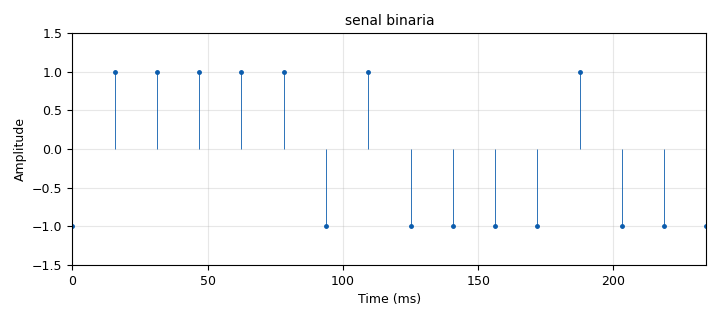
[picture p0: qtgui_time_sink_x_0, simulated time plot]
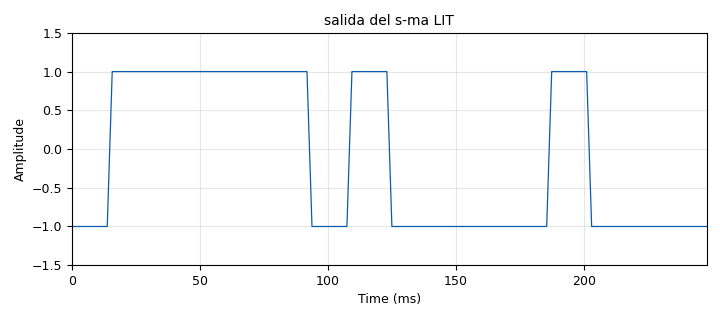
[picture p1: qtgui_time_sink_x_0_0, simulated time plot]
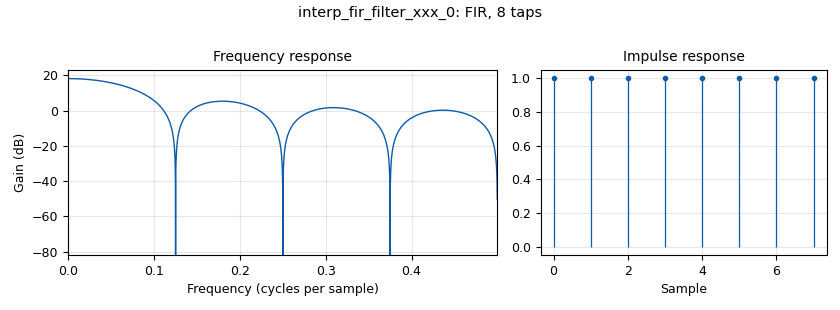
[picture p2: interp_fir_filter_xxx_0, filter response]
<?xml version='1.0' encoding='utf-8'?>
<?grc format='1' created='3.7.13'?>
<flow_graph>
<block>
<key>options</key>
<param><key>id</key><value>top_block</value></param>
<param><key>generate_options</key><value>qt_gui</value></param>
<param><key>run</key><value>run_stop</value></param>
</block>
<block>
<key>variable</key>
<param><key>id</key><value>Rb</value></param>
<param><key>value</key><value>64</value></param>
</block>
<block>
<key>variable</key>
<param><key>id</key><value>Sps</value></param>
<param><key>value</key><value>len(h)</value></param>
</block>
<block>
<key>variable</key>
<param><key>id</key><value>h</value></param>
<param><key>value</key><value>(1.,1.,1.,1.,1.,1.,1.,1.)</value></param>
</block>
<block>
<key>variable_qtgui_check_box</key>
<param><key>id</key><value>run_stop</value></param>
<param><key>value</key><value>True</value></param>
<param><key>false</key><value>False</value></param>
<param><key>gui_hint</key><value>0,0,1,1</value></param>
<param><key>label</key><value>Pause</value></param>
<param><key>true</key><value>True</value></param>
<param><key>type</key><value>int</value></param>
</block>
<block>
<key>variable</key>
<param><key>id</key><value>samp_rate</value></param>
<param><key>value</key><value>Rb*Sps</value></param>
</block>
<block>
<key>analog_const_source_x</key>
<param><key>id</key><value>analog_const_source_x_0</value></param>
<param><key>const</key><value>-1./2.</value></param>
<param><key>type</key><value>float</value></param>
</block>
<block>
<key>analog_random_source_x</key>
<param><key>id</key><value>analog_random_source_x_0</value></param>
<param><key>max</key><value>2</value></param>
<param><key>min</key><value>0</value></param>
<param><key>num_samps</key><value>1000</value></param>
<param><key>type</key><value>int</value></param>
<param><key>repeat</key><value>True</value></param>
</block>
<block>
<key>blocks_add_xx</key>
<param><key>id</key><value>blocks_add_xx_0</value></param>
<param><key>type</key><value>float</value></param>
</block>
<block>
<key>blocks_int_to_float</key>
<param><key>id</key><value>blocks_int_to_float_0</value></param>
<param><key>scale</key><value>1</value></param>
</block>
<block>
<key>blocks_multiply_const_vxx</key>
<param><key>id</key><value>blocks_multiply_const_vxx_0</value></param>
<param><key>const</key><value>2.</value></param>
<param><key>type</key><value>float</value></param>
</block>
<block>
<key>blocks_vector_source_x</key>
<param><key>id</key><value>blocks_vector_source_x_0</value></param>
<param><key>_enabled</key><value>0</value></param>
<param><key>type</key><value>float</value></param>
<param><key>repeat</key><value>True</value></param>
<param><key>vector</key><value>(1., -1., 1., -1.)</value></param>
</block>
<block>
<key>interp_fir_filter_xxx</key>
<param><key>id</key><value>interp_fir_filter_xxx_0</value></param>
<param><key>interp</key><value>Sps</value></param>
<param><key>taps</key><value>h</value></param>
<param><key>type</key><value>fff</value></param>
</block>
<block>
<key>qtgui_time_sink_x</key>
<param><key>id</key><value>qtgui_time_sink_x_0</value></param>
<param><key>color1</key><value>"blue"</value></param>
<param><key>label1</key><value></value></param>
<param><key>marker1</key><value>0</value></param>
<param><key>width1</key><value>3</value></param>
<param><key>name</key><value>"senal binaria"</value></param>
<param><key>size</key><value>int(128/Sps)</value></param>
<param><key>srate</key><value>Rb</value></param>
<param><key>stemplot</key><value>True</value></param>
<param><key>type</key><value>float</value></param>
<param><key>ymax</key><value>1.5</value></param>
<param><key>ymin</key><value>-1.5</value></param>
</block>
<block>
<key>qtgui_time_sink_x</key>
<param><key>id</key><value>qtgui_time_sink_x_0_0</value></param>
<param><key>color1</key><value>"blue"</value></param>
<param><key>label1</key><value></value></param>
<param><key>width1</key><value>3</value></param>
<param><key>name</key><value>"salida del s-ma LIT"</value></param>
<param><key>size</key><value>128</value></param>
<param><key>srate</key><value>samp_rate</value></param>
<param><key>type</key><value>float</value></param>
<param><key>ymax</key><value>1.5</value></param>
<param><key>ymin</key><value>-1.5</value></param>
</block>
<connection><source_block_id>analog_const_source_x_0</source_block_id><sink_block_id>blocks_add_xx_0</sink_block_id><source_key>0</source_key><sink_key>0</sink_key></connection>
<connection><source_block_id>analog_random_source_x_0</source_block_id><sink_block_id>blocks_int_to_float_0</sink_block_id><source_key>0</source_key><sink_key>0</sink_key></connection>
<connection><source_block_id>blocks_add_xx_0</source_block_id><sink_block_id>blocks_multiply_const_vxx_0</sink_block_id><source_key>0</source_key><sink_key>0</sink_key></connection>
<connection><source_block_id>blocks_int_to_float_0</source_block_id><sink_block_id>blocks_add_xx_0</sink_block_id><source_key>0</source_key><sink_key>1</sink_key></connection>
<connection><source_block_id>blocks_multiply_const_vxx_0</source_block_id><sink_block_id>interp_fir_filter_xxx_0</sink_block_id><source_key>0</source_key><sink_key>0</sink_key></connection>
<connection><source_block_id>blocks_multiply_const_vxx_0</source_block_id><sink_block_id>qtgui_time_sink_x_0</sink_block_id><source_key>0</source_key><sink_key>0</sink_key></connection>
<connection><source_block_id>blocks_vector_source_x_0</source_block_id><sink_block_id>qtgui_time_sink_x_0</sink_block_id><source_key>0</source_key><sink_key>0</sink_key></connection>
<connection><source_block_id>interp_fir_filter_xxx_0</source_block_id><sink_block_id>qtgui_time_sink_x_0_0</sink_block_id><source_key>0</source_key><sink_key>0</sink_key></connection>
</flow_graph>
